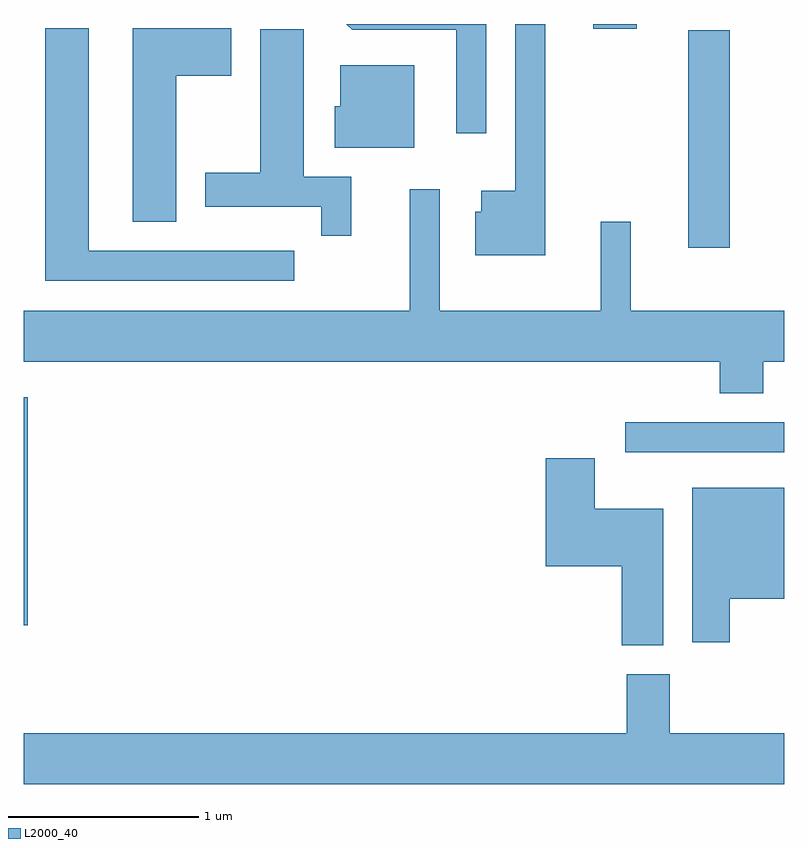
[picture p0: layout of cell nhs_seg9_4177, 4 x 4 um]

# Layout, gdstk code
import gdstk
lib = gdstk.Library(unit=1e-6, precision=1e-09)
def R(c, l, rs):  # rectangles x0, y0, x1, y1
    for r in rs: c.add(gdstk.rectangle(r[:2], r[2:], *l))
def P(c, l, *ps):  # polygons
    for p in ps: c.add(gdstk.Polygon(p, *l))
L2000_40 = (2000, 40)

nhs_seg9_4177 = lib.new_cell('nhs_seg9_4177')
R(nhs_seg9_4177, L2000_40, [(307.611,2039.271,307.634,2040.469), (310.773,2040.181,311.611,2040.339), (311.106,2041.256,311.324,2042.399), (310.606,2042.406,310.834,2042.432)])
P(nhs_seg9_4177, L2000_40, [(310.354,2042.432),(310.196,2042.432),(310.196,2041.554),(310.016,2041.554),(310.016,2041.444),(309.986,2041.444),(309.986,2041.216),(310.354,2041.216)],
  [(310.044,2042.432),(309.308,2042.432),(309.339,2042.401),(309.886,2042.401),(309.886,2041.858),(310.044,2041.858)],
  [(308.414,2042.161),(308.704,2042.161),(308.704,2042.409),(308.186,2042.409),(308.186,2041.391),(308.414,2041.391)],
  [(309.033,2041.239),(307.954,2041.239),(307.954,2042.409),(307.726,2042.409),(307.726,2041.081),(309.033,2041.081)],
  [(309.334,2041.629),(309.084,2041.629),(309.084,2042.404),(308.856,2042.404),(308.856,2041.649),(308.566,2041.649),(308.566,2041.471),(309.176,2041.471),(309.176,2041.318),(309.334,2041.318)],
  [(309.664,2042.214),(309.276,2042.214),(309.276,2041.999),(309.246,2041.999),(309.246,2041.781),(309.664,2041.781)],
  [(311.499,2040.656),(311.611,2040.656),(311.611,2040.924),(310.804,2040.924),(310.804,2041.393),(310.646,2041.393),(310.646,2040.924),(309.799,2040.924),(309.799,2041.563),(309.641,2041.563),(309.641,2040.924),(307.611,2040.924),(307.611,2040.656),(311.271,2040.656),(311.271,2040.491),(311.499,2040.491)],
  [(310.974,2039.884),(310.614,2039.884),(310.614,2040.149),(310.356,2040.149),(310.356,2039.581),(310.756,2039.581),(310.756,2039.166),(310.974,2039.166)],
  [(311.324,2039.411),(311.609,2039.411),(311.609,2039.994),(311.126,2039.994),(311.126,2039.181),(311.324,2039.181)],
  [(311.611,2038.704),(311.009,2038.704),(311.009,2039.014),(310.781,2039.014),(310.781,2038.704),(307.611,2038.704),(307.611,2038.436),(311.611,2038.436)])

lib.write_gds('nhs_seg9_4177.gds')
